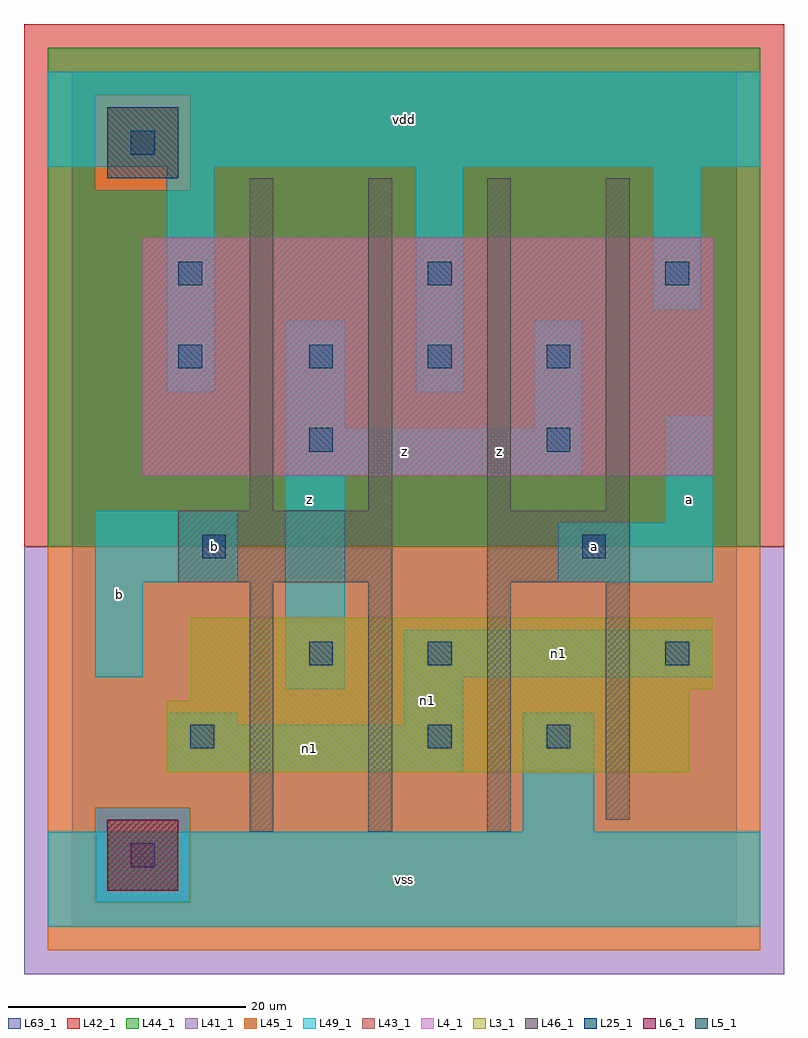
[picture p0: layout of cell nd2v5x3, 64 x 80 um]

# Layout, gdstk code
import gdstk
lib = gdstk.Library(unit=1e-6, precision=1e-09)
def R(c, l, rs):  # rectangles x0, y0, x1, y1
    for r in rs: c.add(gdstk.rectangle(r[:2], r[2:], *l))
def A(c, l, x, y, w, h, nx, ny, dx, dy):  # array of equal rectangles
    R(c, l, [(x+i*dx, y+j*dy, x+i*dx+w, y+j*dy+h) for i in range(nx) for j in range(ny)])
L3_1 = (3, 1)
L4_1 = (4, 1)
L5_1 = (5, 1)
L6_1 = (6, 1)
L25_1 = (25, 1)
L41_1 = (41, 1)
L42_1 = (42, 1)
L43_1 = (43, 1)
L44_1 = (44, 1)
L45_1 = (45, 1)
L46_1 = (46, 1)
L49_1 = (49, 1)
L63_1 = (63, 1)

nd2v5x3 = lib.new_cell('nd2v5x3')
R(nd2v5x3, L3_1, [(8,13,52,19), (10,19,52,20), (10,20,54,26)])
R(nd2v5x3, L4_1, [(6,38,54,58)])
R(nd2v5x3, L5_1, [(3,63,9,69)])
R(nd2v5x3, L6_1, [(3,3,9,9), (3,3,9,9)])
A(nd2v5x3, L25_1, 20, 47, 2, 2, 3, 1, 10, 0)
R(nd2v5x3, L25_1, [(5,5,7,7), (10,15,12,17), (30,15,32,17), (40,15,42,17), (20,22,22,24), (30,22,32,24), (50,22,52,24), (11,31,13,33), (43,31,45,33), (20,40,22,42), (40,40,42,42), (9,47,11,49), (9,54,11,56), (30,54,32,56), (50,54,52,56), (5,65,7,67)])
R(nd2v5x3, L41_1, [(-4,-4,60,32)])
R(nd2v5x3, L42_1, [(-4,32,60,76)])
R(nd2v5x3, L43_1, [(3,3,9,9), (8,13,52,19), (10,19,52,20), (10,20,54,26), (6,38,54,58), (3,63,9,69)])
R(nd2v5x3, L44_1, [(2,2,10,10), (-2,32,58,62), (-2,62,2,70), (10,62,58,70), (-2,70,58,74)])
R(nd2v5x3, L45_1, [(-2,-2,58,2), (-2,2,2,10), (10,2,58,10), (-2,10,58,32), (2,62,10,70)])
A(nd2v5x3, L46_1, 15, 8, 2, 21, 3, 1, 10, 0)
A(nd2v5x3, L46_1, 15, 35, 2, 28, 4, 1, 10, 0)
R(nd2v5x3, L46_1, [(45,9,47,29), (9,29,27,35), (35,29,47,35)])
R(nd2v5x3, L49_1, [(-2,0,58,8), (38,8,44,18), (8,13,33,17), (8,17,14,18), (28,17,33,21), (18,20,23,38), (2,21,6,29), (28,21,54,25), (2,29,14,35), (41,29,54,34), (50,34,54,43), (18,38,43,42), (18,42,23,51), (39,42,43,51), (8,45,12,64), (29,45,33,64), (49,52,53,64), (-2,64,58,72)])
R(nd2v5x3, L63_1, [(0,0,56,72)])
nd2v5x3.add(gdstk.Label('b', (4,28), layer=49, texttype=1))
nd2v5x3.add(gdstk.Label('b', (12,32), layer=49, texttype=1))
nd2v5x3.add(gdstk.Label('z', (20,36), layer=49, texttype=1))
nd2v5x3.add(gdstk.Label('vss', (28,4), layer=49, texttype=1))
nd2v5x3.add(gdstk.Label('n1', (20,15), layer=49, texttype=1))
nd2v5x3.add(gdstk.Label('n1', (30,19), layer=49, texttype=1))
nd2v5x3.add(gdstk.Label('z', (36,40), layer=49, texttype=1))
nd2v5x3.add(gdstk.Label('z', (28,40), layer=49, texttype=1))
nd2v5x3.add(gdstk.Label('vdd', (28,68), layer=49, texttype=1))
nd2v5x3.add(gdstk.Label('a', (44,32), layer=49, texttype=1))
nd2v5x3.add(gdstk.Label('n1', (41,23), layer=49, texttype=1))
nd2v5x3.add(gdstk.Label('a', (52,36), layer=49, texttype=1))

lib.write_gds('nd2v5x3.gds')
